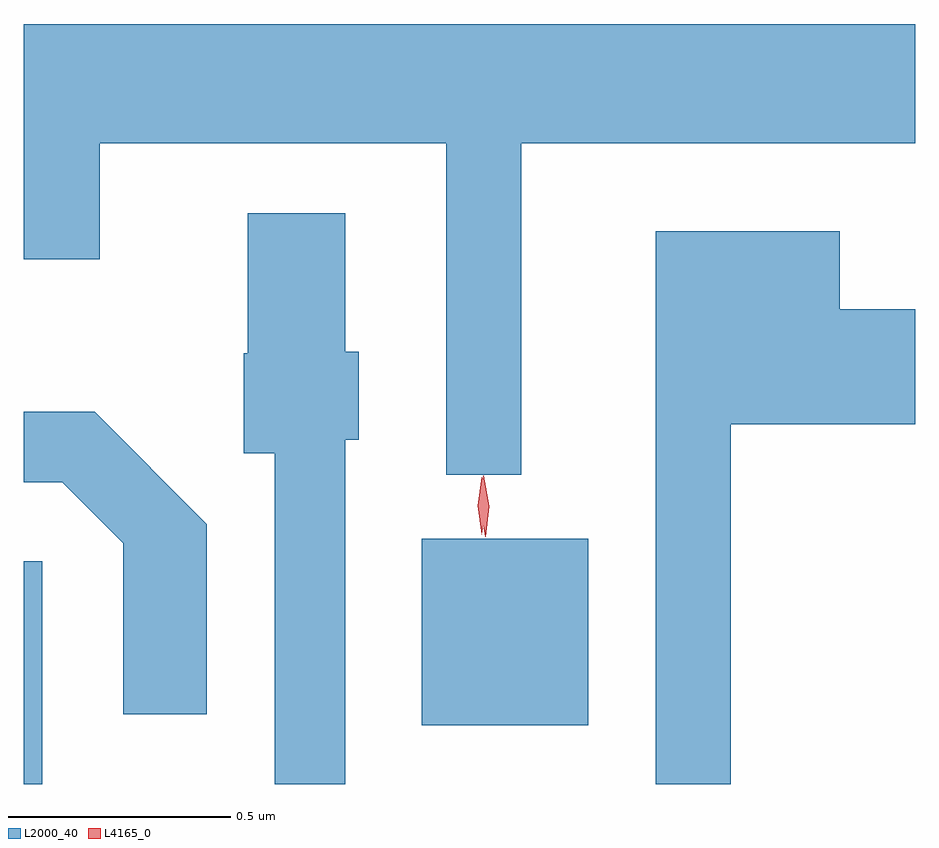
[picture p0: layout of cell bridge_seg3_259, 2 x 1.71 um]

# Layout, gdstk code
import gdstk
lib = gdstk.Library(unit=1e-6, precision=1e-09)
def R(c, l, rs):  # rectangles x0, y0, x1, y1
    for r in rs: c.add(gdstk.rectangle(r[:2], r[2:], *l))
def P(c, l, *ps):  # polygons
    for p in ps: c.add(gdstk.Polygon(p, *l))
L2000_40 = (2000, 40)
L4165_0 = (4165, 0)

bridge_seg3_259 = lib.new_cell('bridge_seg3_259')
R(bridge_seg3_259, L2000_40, [(963.653,1122.359,963.694,1122.859), (964.546,1122.491,964.919,1122.909)])
P(bridge_seg3_259, L2000_40, [(964.769,1123.796),(965.653,1123.796),(965.653,1124.064),(963.653,1124.064),(963.653,1123.536),(963.824,1123.536),(963.824,1123.796),(964.601,1123.796),(964.601,1123.053),(964.769,1123.053)],
  [(964.374,1123.131),(964.404,1123.131),(964.404,1123.329),(964.374,1123.329),(964.374,1123.639),(964.156,1123.639),(964.156,1123.325),(964.146,1123.325),(964.146,1123.101),(964.216,1123.101),(964.216,1122.359),(964.374,1122.359)],
  [(965.239,1123.166),(965.653,1123.166),(965.653,1123.424),(965.484,1123.424),(965.484,1123.599),(965.071,1123.599),(965.071,1122.359),(965.239,1122.359)],
  [(964.064,1122.942),(963.812,1123.194),(963.653,1123.194),(963.653,1123.036),(963.739,1123.036),(963.876,1122.899),(963.876,1122.516),(964.064,1122.516)])
P(bridge_seg3_259, L4165_0, [(964.681,1122.918),(964.68,1122.919),(964.671,1122.983),(964.681,1123.047),(964.681,1123.047),(964.682,1123.047),(964.691,1122.983),(964.681,1122.919)],
  [(964.688,1122.914),(964.688,1122.914),(964.677,1122.982),(964.684,1123.05),(964.685,1123.05),(964.685,1123.05),(964.697,1122.982),(964.689,1122.914)])

lib.write_gds('bridge_seg3_259.gds')
